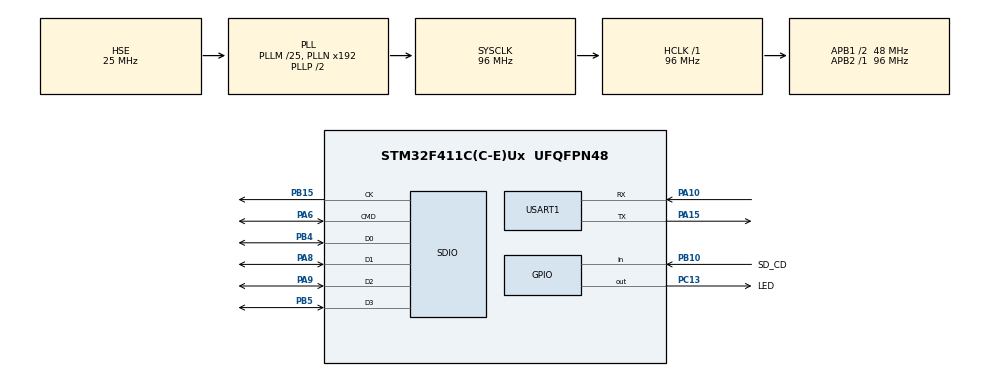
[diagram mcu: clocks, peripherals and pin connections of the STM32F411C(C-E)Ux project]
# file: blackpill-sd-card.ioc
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Dma.Request0=USART1_TX
Dma.Request1=SDIO
Dma.SDIO.1.Direction=DMA_PERIPH_TO_MEMORY
Dma.SDIO.1.FIFOMode=DMA_FIFOMODE_ENABLE
Dma.SDIO.1.FIFOThreshold=DMA_FIFO_THRESHOLD_FULL
Dma.SDIO.1.Instance=DMA2_Stream3
Dma.SDIO.1.MemBurst=DMA_MBURST_INC4
Dma.SDIO.1.MemDataAlignment=DMA_MDATAALIGN_WORD
Dma.SDIO.1.MemInc=DMA_MINC_ENABLE
Dma.SDIO.1.Mode=DMA_PFCTRL
Dma.SDIO.1.PeriphBurst=DMA_PBURST_INC4
Dma.SDIO.1.PeriphDataAlignment=DMA_PDATAALIGN_WORD
Dma.SDIO.1.PeriphInc=DMA_PINC_DISABLE
Dma.SDIO.1.Priority=DMA_PRIORITY_LOW
Dma.USART1_TX.0.Direction=DMA_MEMORY_TO_PERIPH
Dma.USART1_TX.0.FIFOMode=DMA_FIFOMODE_DISABLE
Dma.USART1_TX.0.Instance=DMA2_Stream7
Dma.USART1_TX.0.MemDataAlignment=DMA_MDATAALIGN_BYTE
Dma.USART1_TX.0.MemInc=DMA_MINC_ENABLE
Dma.USART1_TX.0.Mode=DMA_NORMAL
Dma.USART1_TX.0.PeriphDataAlignment=DMA_PDATAALIGN_BYTE
Dma.USART1_TX.0.PeriphInc=DMA_PINC_DISABLE
Dma.USART1_TX.0.Priority=DMA_PRIORITY_LOW
FATFS.BSP.number=1
FATFS._MAX_SS=4096
FATFS0.BSP.STBoard=false
FATFS0.BSP.api=Unknown
FATFS0.BSP.instance=PB10
FATFS0.BSP.ip=GPIO
FATFS0.BSP.mode=Input
FATFS0.BSP.name=Detect_SDIO
FATFS0.BSP.solution=PB10
FREERTOS.Tasks01=sd_task,24,512,start_sd_task,Default,NULL,Dynamic,NULL,NULL
Mcu.Family=STM32F4
Mcu.Name=STM32F411C(C-E)Ux
Mcu.Package=UFQFPN48
NVIC.DMA2_Stream3_IRQn=true\:5\:0\:false\:false\:true\:true\:false\:true\:true
NVIC.DMA2_Stream7_IRQn=true\:5\:0\:false\:false\:true\:true\:false\:true\:true
NVIC.PriorityGroup=NVIC_PRIORITYGROUP_4
NVIC.SDIO_IRQn=true\:5\:0\:false\:false\:true\:true\:true\:true\:true
NVIC.TIM1_UP_TIM10_IRQn=true\:15\:0\:false\:false\:true\:false\:false\:true\:true
NVIC.TimeBase=TIM1_UP_TIM10_IRQn
NVIC.TimeBaseIP=TIM1
NVIC.USART1_IRQn=true\:5\:0\:false\:false\:true\:true\:true\:true\:true
PA10.Mode=Asynchronous
PA10.Signal=USART1_RX
PA13.Mode=Serial_Wire
PA13.Signal=SYS_JTMS-SWDIO
PA14.Mode=Serial_Wire
PA14.Signal=SYS_JTCK-SWCLK
PA15.Mode=Asynchronous
PA15.Signal=USART1_TX
PA6.Mode=SD_4_bits_Wide_bus
PA6.Signal=SDIO_CMD
PA8.Mode=SD_4_bits_Wide_bus
PA8.Signal=SDIO_D1
PA9.Mode=SD_4_bits_Wide_bus
PA9.Signal=SDIO_D2
PB10.GPIO_Label=SD_CD
PB10.Signal=GPIO_Input
PB15.Mode=SD_4_bits_Wide_bus
PB15.Signal=SDIO_CK
PB4.Mode=SD_4_bits_Wide_bus
PB4.Signal=SDIO_D0
PB5.Mode=SD_4_bits_Wide_bus
PB5.Signal=SDIO_D3
PC13-ANTI_TAMP.GPIO_Label=LED
PC13-ANTI_TAMP.GPIO_PuPd=GPIO_PULLUP
PC13-ANTI_TAMP.Signal=GPIO_Output
PH0\ -\ OSC_IN.Mode=HSE-External-Oscillator
PH0\ -\ OSC_IN.Signal=RCC_OSC_IN
PH1\ -\ OSC_OUT.Mode=HSE-External-Oscillator
PH1\ -\ OSC_OUT.Signal=RCC_OSC_OUT
ProjectManager.HeapSize=0x200
ProjectManager.StackSize=0x400
ProjectManager.TargetToolchain=CMake
RCC.48MHZClocksFreq_Value=48000000
RCC.AHBFreq_Value=96000000
RCC.APB1CLKDivider=RCC_HCLK_DIV2
RCC.APB1Freq_Value=48000000
RCC.APB1TimFreq_Value=96000000
RCC.APB2Freq_Value=96000000
RCC.APB2TimFreq_Value=96000000
RCC.CortexFreq_Value=96000000
RCC.HCLKFreq_Value=96000000
RCC.HSE_VALUE=25000000
RCC.HSI_VALUE=16000000
RCC.LSE_VALUE=32768
RCC.PLLM=25
RCC.PLLSourceVirtual=RCC_PLLSOURCE_HSE
RCC.SYSCLKFreq_VALUE=96000000
RCC.SYSCLKSource=RCC_SYSCLKSOURCE_PLLCLK
RCC.VCOOutputFreq_Value=192000000
USART1.VirtualMode=VM_ASYNC
VP_FATFS_VS_SDIO.Mode=SDIO
VP_FREERTOS_VS_CMSIS_V2.Mode=CMSIS_V2
VP_SYS_VS_tim1.Mode=TIM1
board=custom

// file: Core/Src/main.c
/* USER CODE BEGIN Header */
/**
  ******************************************************************************
  * @file           : main.c
  * @brief          : Main program body
  ******************************************************************************
  * @attention
  *
  * Copyright (c) 2025 STMicroelectronics.
  * All rights reserved.
  *
  * This software is licensed under terms that can be found in the LICENSE file
  * in the root directory of this software component.
  * If no LICENSE file comes with this software, it is provided AS-IS.
  *
  ******************************************************************************
  */
/* USER CODE END Header */
#include "main.h"
#include "cmsis_os.h"
#include "fatfs.h"

/* USER CODE BEGIN Includes */
#include <stdio.h>
#include <string.h>

/* USER CODE END Includes */

/* USER CODE BEGIN PD */
#define BUFF_TX_SIZE 50

/* USER CODE END PD */

SD_HandleTypeDef hsd;
DMA_HandleTypeDef hdma_sdio;

UART_HandleTypeDef huart1;
DMA_HandleTypeDef hdma_usart1_tx;

/* Definitions for sd_task */
osThreadId_t sd_taskHandle;
const osThreadAttr_t sd_task_attributes = {
  .name = "sd_task",
  .stack_size = 512 * 4,
  .priority = (osPriority_t) osPriorityNormal,
};

void SystemClock_Config(void);
static void MX_GPIO_Init(void);
static void MX_DMA_Init(void);
static void MX_USART1_UART_Init(void);
static void MX_SDIO_SD_Init(void);
void start_sd_task(void *argument);

/* USER CODE BEGIN PFP */
HAL_StatusTypeDef uart_tx_dma(UART_HandleTypeDef *huart, const uint8_t *pData, uint16_t Size);
HAL_StatusTypeDef change_sd_dma_direction(uint32_t direction);
uint8_t BSP_SD_ReadBlocks_DMA(uint32_t *pData, uint32_t ReadAddr, uint32_t NumOfBlocks);
uint8_t BSP_SD_WriteBlocks_DMA(uint32_t *pData, uint32_t WriteAddr, uint32_t NumOfBlocks);

/* USER CODE END PFP */

int main(void)
{

  /* MCU Configuration--------------------------------------------------------*/

  /* Reset of all peripherals, Initializes the Flash interface and the Systick. */
  HAL_Init();

  /* Configure the system clock */
  SystemClock_Config();

  /* Initialize all configured peripherals */
  MX_GPIO_Init();
  MX_DMA_Init();
  MX_USART1_UART_Init();
  MX_SDIO_SD_Init();
  MX_FATFS_Init();

  /* Init scheduler */
  osKernelInitialize();

  /* Create the thread(s) */
  /* creation of sd_task */
  sd_taskHandle = osThreadNew(start_sd_task, NULL, &sd_task_attributes);

  /* Start scheduler */
  osKernelStart();

  /* We should never get here as control is now taken by the scheduler */

  /* Infinite loop */
  while (1)
  {

  }
}

void SystemClock_Config(void)
{
  RCC_OscInitTypeDef RCC_OscInitStruct = {0};
  RCC_ClkInitTypeDef RCC_ClkInitStruct = {0};

  /** Configure the main internal regulator output voltage
  */
  __HAL_RCC_PWR_CLK_ENABLE();
  __HAL_PWR_VOLTAGESCALING_CONFIG(PWR_REGULATOR_VOLTAGE_SCALE1);

  /** Initializes the RCC Oscillators according to the specified parameters
  * in the RCC_OscInitTypeDef structure.
  */
  RCC_OscInitStruct.OscillatorType = RCC_OSCILLATORTYPE_HSE;
  RCC_OscInitStruct.HSEState = RCC_HSE_ON;
  RCC_OscInitStruct.PLL.PLLState = RCC_PLL_ON;
  RCC_OscInitStruct.PLL.PLLSource = RCC_PLLSOURCE_HSE;
  RCC_OscInitStruct.PLL.PLLM = 25;
  RCC_OscInitStruct.PLL.PLLN = 192;
  RCC_OscInitStruct.PLL.PLLP = RCC_PLLP_DIV2;
  RCC_OscInitStruct.PLL.PLLQ = 4;
  if (HAL_RCC_OscConfig(&RCC_OscInitStruct) != HAL_OK)
  {
    Error_Handler();
  }

  /** Initializes the CPU, AHB and APB buses clocks
  */
  RCC_ClkInitStruct.ClockType = RCC_CLOCKTYPE_HCLK|RCC_CLOCKTYPE_SYSCLK
                              |RCC_CLOCKTYPE_PCLK1|RCC_CLOCKTYPE_PCLK2;
  RCC_ClkInitStruct.SYSCLKSource = RCC_SYSCLKSOURCE_PLLCLK;
  RCC_ClkInitStruct.AHBCLKDivider = RCC_SYSCLK_DIV1;
  RCC_ClkInitStruct.APB1CLKDivider = RCC_HCLK_DIV2;
  RCC_ClkInitStruct.APB2CLKDivider = RCC_HCLK_DIV1;

  if (HAL_RCC_ClockConfig(&RCC_ClkInitStruct, FLASH_LATENCY_3) != HAL_OK)
  {
    Error_Handler();
  }
}

static void MX_SDIO_SD_Init(void)
{

  hsd.Instance = SDIO;
  hsd.Init.ClockEdge = SDIO_CLOCK_EDGE_RISING;
  hsd.Init.ClockBypass = SDIO_CLOCK_BYPASS_DISABLE;
  hsd.Init.ClockPowerSave = SDIO_CLOCK_POWER_SAVE_DISABLE;
  hsd.Init.BusWide = SDIO_BUS_WIDE_4B;
  hsd.Init.HardwareFlowControl = SDIO_HARDWARE_FLOW_CONTROL_DISABLE;
  hsd.Init.ClockDiv = 0;
  /* USER CODE BEGIN SDIO_Init 2 */
  hsd.Init.BusWide = SDIO_BUS_WIDE_1B;

  /* USER CODE END SDIO_Init 2 */

}

static void MX_USART1_UART_Init(void)
{

  huart1.Instance = USART1;
  huart1.Init.BaudRate = 115200;
  huart1.Init.WordLength = UART_WORDLENGTH_8B;
  huart1.Init.StopBits = UART_STOPBITS_1;
  huart1.Init.Parity = UART_PARITY_NONE;
  huart1.Init.Mode = UART_MODE_TX_RX;
  huart1.Init.HwFlowCtl = UART_HWCONTROL_NONE;
  huart1.Init.OverSampling = UART_OVERSAMPLING_16;
  if (HAL_UART_Init(&huart1) != HAL_OK)
  {
    Error_Handler();
  }

}

static void MX_DMA_Init(void)
{

  /* DMA controller clock enable */
  __HAL_RCC_DMA2_CLK_ENABLE();

  /* DMA interrupt init */
  /* DMA2_Stream3_IRQn interrupt configuration */
  HAL_NVIC_SetPriority(DMA2_Stream3_IRQn, 5, 0);
  HAL_NVIC_EnableIRQ(DMA2_Stream3_IRQn);
  /* DMA2_Stream7_IRQn interrupt configuration */
  HAL_NVIC_SetPriority(DMA2_Stream7_IRQn, 5, 0);
  HAL_NVIC_EnableIRQ(DMA2_Stream7_IRQn);

}

static void MX_GPIO_Init(void)
{
  GPIO_InitTypeDef GPIO_InitStruct = {0};

  /* GPIO Ports Clock Enable */
  __HAL_RCC_GPIOC_CLK_ENABLE();
  __HAL_RCC_GPIOH_CLK_ENABLE();
  __HAL_RCC_GPIOA_CLK_ENABLE();
  __HAL_RCC_GPIOB_CLK_ENABLE();

  /*Configure GPIO pin Output Level */
  HAL_GPIO_WritePin(LED_GPIO_Port, LED_Pin, GPIO_PIN_RESET);

  /*Configure GPIO pin : LED_Pin */
  GPIO_InitStruct.Pin = LED_Pin;
  GPIO_InitStruct.Mode = GPIO_MODE_OUTPUT_PP;
  GPIO_InitStruct.Pull = GPIO_PULLUP;
  GPIO_InitStruct.Speed = GPIO_SPEED_FREQ_LOW;
  HAL_GPIO_Init(LED_GPIO_Port, &GPIO_InitStruct);

  /*Configure GPIO pin : SD_CD_Pin */
  GPIO_InitStruct.Pin = SD_CD_Pin;
  GPIO_InitStruct.Mode = GPIO_MODE_INPUT;
  GPIO_InitStruct.Pull = GPIO_NOPULL;
  HAL_GPIO_Init(SD_CD_GPIO_Port, &GPIO_InitStruct);

}

/* USER CODE BEGIN 4 */
HAL_StatusTypeDef uart_tx_dma(UART_HandleTypeDef *huart, const uint8_t *pData, uint16_t Size) {
  while (HAL_UART_GetState(huart) == HAL_UART_STATE_BUSY_TX ||
         HAL_UART_GetState(huart) == HAL_UART_STATE_BUSY_TX_RX) {
  }
  return HAL_UART_Transmit_DMA(huart, pData, Size);
}

HAL_StatusTypeDef change_sd_dma_direction(uint32_t direction) {
  HAL_StatusTypeDef ret = HAL_OK;
  if (HAL_DMA_GetState(&hdma_sdio) == HAL_DMA_STATE_BUSY){
    ret = HAL_DMA_Abort(&hdma_sdio);
  }

  if (ret == HAL_OK) {
    ret = HAL_DMA_DeInit(&hdma_sdio);
    if (ret == HAL_OK) {
      hdma_sdio.Init.Direction = direction;
      ret = HAL_DMA_Init(&hdma_sdio);
    }
  }
  return ret;
}

uint8_t BSP_SD_ReadBlocks_DMA(uint32_t *pData, uint32_t ReadAddr, uint32_t NumOfBlocks) {
  // Меняем направление DMA на периферия->память
  if (change_sd_dma_direction(DMA_PERIPH_TO_MEMORY) == HAL_OK) {
    if (HAL_SD_ReadBlocks_DMA(&hsd, (uint8_t *)pData, ReadAddr, NumOfBlocks) == HAL_OK) {
      return MSD_OK;
    }
  }
  return MSD_ERROR;
}

uint8_t BSP_SD_WriteBlocks_DMA(uint32_t *pData, uint32_t WriteAddr, uint32_t NumOfBlocks) {
  // Меняем направление DMA на память->периферия
  if (change_sd_dma_direction(DMA_MEMORY_TO_PERIPH) == HAL_OK) {
    if (HAL_SD_WriteBlocks_DMA(&hsd, (uint8_t *)pData, WriteAddr, NumOfBlocks) == HAL_OK) {
      return MSD_OK;
    }
  }
  return MSD_ERROR;
}

/* USER CODE END 4 */

void start_sd_task(void *argument)
{
  /* USER CODE BEGIN 5 */
  uint8_t sd_cd_state_prev = GPIO_PIN_SET;
  uint8_t sd_cd_state = GPIO_PIN_SET;
  uint8_t mount_state = FR_NOT_READY;
  char buff_tx[BUFF_TX_SIZE];

  HAL_GPIO_WritePin(LED_GPIO_Port, LED_Pin, GPIO_PIN_SET);
  TickType_t ticks_period = pdMS_TO_TICKS(200);
  TickType_t current_ticks = xTaskGetTickCount();
  for (;;) {
    sd_cd_state = HAL_GPIO_ReadPin(SD_CD_GPIO_Port, SD_CD_Pin);
    // Карта изменила свое состояние (вставлена/вытащена)
    if (sd_cd_state != sd_cd_state_prev) {
      HAL_GPIO_WritePin(LED_GPIO_Port, LED_Pin, sd_cd_state);
      // Карта была вставлена
      if (sd_cd_state == GPIO_PIN_RESET) {
        snprintf(buff_tx, BUFF_TX_SIZE, "\n\nSD card is inserted\n");
        HAL_UART_Transmit(&huart1, (uint8_t *)buff_tx, strlen(buff_tx), 20);
        /*
         * Повторная инициализация
         *
         * XXX: Раньше тут была проверка
         *      if (hsd.State == HAL_SD_STATE_RESET)
         *      но она не работала, реинициализировалась карта даже во время первого монтирования,
         *      хотя, по идее, так быть не должно.
         *
         *      Во время инициализации SD вызывается следующий каскад функций:
         *      SD_initialize
         *      | BSP_SD_Init
         *        | HAL_SD_Init
         *          | HAL_SD_MspInit
         *          | HAL_SD_InitCard
         *      Но где конкретно FatFS вызывает SD_initialize выяснить не удалось.
         *      Поэтому, когда карта вытаскивается, я размонтирую ее и деинициализирую,
         *      а при повторной вставке карты инициализирую заново и монтирую.
         */
        HAL_Delay(1000); // Чтобы пользователь плотно вставил карту
        snprintf(buff_tx, BUFF_TX_SIZE, "ReInit: ");
        HAL_UART_Transmit(&huart1, (uint8_t *)buff_tx, strlen(buff_tx), 20);
        // Для инициализации карты необходимо включить режим 1bit
        hsd.Init.BusWide = SDIO_BUS_WIDE_1B;
        /*
          * Инициализация и включение режима 4bit
          * XXX: Почему-то 4bit работает не на всех картах
          *      При необходимости поменять режим в CubeMX.
          */
        mount_state = BSP_SD_Init();
        if (mount_state == FR_OK) {
          snprintf(buff_tx, BUFF_TX_SIZE, "OK\n");
          HAL_UART_Transmit(&huart1, (uint8_t *)buff_tx, strlen(buff_tx), 20);
          // Монтируем
          snprintf(buff_tx, BUFF_TX_SIZE, "Mount: ");
          HAL_UART_Transmit(&huart1, (uint8_t *)buff_tx, strlen(buff_tx), 20);
          mount_state = f_mount(&SDFatFS, SDPath, 1);
          if (mount_state == FR_OK) {
            snprintf(buff_tx, BUFF_TX_SIZE, "OK\n");
            HAL_UART_Transmit(&huart1, (uint8_t *)buff_tx, strlen(buff_tx), 20);

            // Вывод данных о карте
            sniprintf(buff_tx, BUFF_TX_SIZE, "---\nCard Type:    %lu\n", hsd.SdCard.CardType);
            HAL_UART_Transmit(&huart1, (uint8_t *)buff_tx, strlen(buff_tx), 20);
            sniprintf(buff_tx, BUFF_TX_SIZE, "Card Version: %lu\n", hsd.SdCard.CardVersion);
            HAL_UART_Transmit(&huart1, (uint8_t *)buff_tx, strlen(buff_tx), 20);
            sniprintf(buff_tx, BUFF_TX_SIZE, "Class:        %lu\n", hsd.SdCard.Class);
            HAL_UART_Transmit(&huart1, (uint8_t *)buff_tx, strlen(buff_tx), 20);
            sniprintf(buff_tx, BUFF_TX_SIZE, "Block size:   %lu\n", hsd.SdCard.BlockSize);
            HAL_UART_Transmit(&huart1, (uint8_t *)buff_tx, strlen(buff_tx), 20);
            sniprintf(buff_tx, BUFF_TX_SIZE, "Block num:    %lu\n", hsd.SdCard.BlockNbr);
            HAL_UART_Transmit(&huart1, (uint8_t *)buff_tx, strlen(buff_tx), 20);
            /*
             * XXX: Отключена возможность вывода чисел с плавающей точкой и uint64_t
             *      Для первого
             *      https://stackoverflow.com/questions/28334435/stm32-printf-float-variable
             *      Для второго
             *      https://community.st.com/t5/stm32cubeide-mcus/wrong-result-when-printing-a-int64-t-value-using-stm32cubeide/td-p/148913
             */
            sniprintf(buff_tx, BUFF_TX_SIZE, "Card size:    %d MB\n",
                      (uint16_t)((uint64_t)hsd.SdCard.BlockSize * hsd.SdCard.BlockNbr / 1000000));
            HAL_UART_Transmit(&huart1, (uint8_t *)buff_tx, strlen(buff_tx), 20);

            // Запись в файл
            uint8_t fil_res;
            sniprintf(buff_tx, BUFF_TX_SIZE, "---\nOpen file: ");
            HAL_UART_Transmit(&huart1, (uint8_t *)buff_tx, strlen(buff_tx), 20);
            /*
             * По хорошему тут тоже сделать проверки, получилось или нет, но было лень
             * Поэтому я просто вывожу возвращаемое значение
             */
            fil_res = f_open(&SDFile, "hello.txt", FA_WRITE | FA_CREATE_ALWAYS);
            sniprintf(buff_tx, BUFF_TX_SIZE, "%d\n", fil_res);
            HAL_UART_Transmit(&huart1, (uint8_t *)buff_tx, strlen(buff_tx), 20);

            sniprintf(buff_tx, BUFF_TX_SIZE, "Write: ");
            HAL_UART_Transmit(&huart1, (uint8_t *)buff_tx, strlen(buff_tx), 20);
            fil_res = f_write(&SDFile, "Hello, World!", 13, NULL);
            sniprintf(buff_tx, BUFF_TX_SIZE, "%d\n", fil_res);
            HAL_UART_Transmit(&huart1, (uint8_t *)buff_tx, strlen(buff_tx), 20);

            sniprintf(buff_tx, BUFF_TX_SIZE, "Close file: ");
            HAL_UART_Transmit(&huart1, (uint8_t *)buff_tx, strlen(buff_tx), 20);
            fil_res = f_close(&SDFile);
            sniprintf(buff_tx, BUFF_TX_SIZE, "%d\n", fil_res);
            HAL_UART_Transmit(&huart1, (uint8_t *)buff_tx, strlen(buff_tx), 20);

            sniprintf(buff_tx, BUFF_TX_SIZE, "END\n");
            HAL_UART_Transmit(&huart1, (uint8_t *)buff_tx, strlen(buff_tx), 20);
          } else {
            // Не удалось смонтировать
            snprintf(buff_tx, BUFF_TX_SIZE, "ERROR %d\n", mount_state);
            HAL_UART_Transmit(&huart1, (uint8_t *)buff_tx, strlen(buff_tx), 20);
            // TODO: Наверное, тут надо размонтировать
          }
        } else {
          // Не удалось инициализировать
          snprintf(buff_tx, BUFF_TX_SIZE, "ERROR %d\n", mount_state);
          HAL_UART_Transmit(&huart1, (uint8_t *)buff_tx, strlen(buff_tx), 20);
        }
      } else {
        // Карта была вытащена
        snprintf(buff_tx, BUFF_TX_SIZE, "\n\nSD card is removed\n");
        HAL_UART_Transmit(&huart1, (uint8_t *)buff_tx, strlen(buff_tx), 20);
        if (mount_state == FR_OK) {
          // Размонтируем, если карта была смонтирована
          snprintf(buff_tx, BUFF_TX_SIZE, "Unmount: ");
          HAL_UART_Transmit(&huart1, (uint8_t *)buff_tx, strlen(buff_tx), 20);
          mount_state = f_mount(NULL, SDPath, 0);
          if (mount_state == FR_OK) {
            // Деинициализация
            snprintf(buff_tx, BUFF_TX_SIZE, "OK\n");
            HAL_UART_Transmit(&huart1, (uint8_t *)buff_tx, strlen(buff_tx), 20);
            snprintf(buff_tx, BUFF_TX_SIZE, "DeInit: ");
            HAL_UART_Transmit(&huart1, (uint8_t *)buff_tx, strlen(buff_tx), 20);
            if (HAL_SD_DeInit(&hsd) == HAL_OK) {
              snprintf(buff_tx, BUFF_TX_SIZE, "OK\n");
            } else {
              snprintf(buff_tx, BUFF_TX_SIZE, "ERROR %d\n", mount_state);
            }
            HAL_UART_Transmit(&huart1, (uint8_t *)buff_tx, strlen(buff_tx), 20);
            mount_state = FR_NOT_READY;
          } else {
            snprintf(buff_tx, BUFF_TX_SIZE, "ERROR %d\n", mount_state);
            HAL_UART_Transmit(&huart1, (uint8_t *)buff_tx, strlen(buff_tx), 20);
          }
        }
      }
      sd_cd_state_prev = sd_cd_state;
    }
    vTaskDelayUntil(&current_ticks, ticks_period);
  }
  /* USER CODE END 5 */
}

void HAL_TIM_PeriodElapsedCallback(TIM_HandleTypeDef *htim)
{
  if (htim->Instance == TIM1) {
    HAL_IncTick();
  }
}

void Error_Handler(void)
{
  __disable_irq();
  while (1)
  {
  }
}
